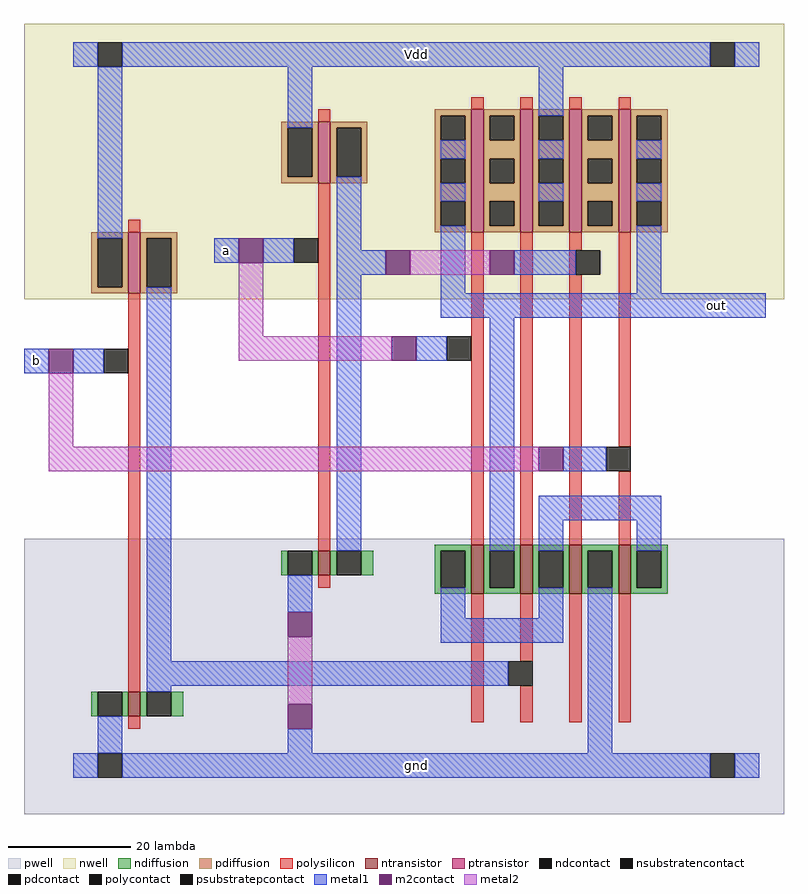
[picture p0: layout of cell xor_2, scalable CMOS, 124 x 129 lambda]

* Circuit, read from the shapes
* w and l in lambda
.subckt xor_2 Vdd a b gnd out
M1 n1 b gnd gnd nfet w=4 l=2
M2 n2 a gnd gnd nfet w=4 l=2
M3 out a n3 gnd nfet w=8 l=2
M4 n3 n1 out gnd nfet w=8 l=2
M5 gnd n2 n3 gnd nfet w=8 l=2
M6 n3 b gnd gnd nfet w=8 l=2
M7 n1 b Vdd Vdd pfet w=10 l=2
M8 n2 a Vdd Vdd pfet w=10 l=2
M9 n4 a out Vdd pfet w=20 l=2
M10 Vdd n1 n4 Vdd pfet w=20 l=2
M11 n5 n2 Vdd Vdd pfet w=20 l=2
M12 out b n5 Vdd pfet w=20 l=2
.ends

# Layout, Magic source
magic
tech scmos
<< pwell >>
rect -75 -64 49 -19
<< nwell >>
rect -75 20 49 65
<< polysilicon >>
rect -2 51 0 53
rect 6 51 8 53
rect 14 51 16 53
rect 22 51 24 53
rect -27 49 -25 51
rect -58 31 -56 33
rect -58 -44 -56 21
rect -27 -21 -25 39
rect -2 -20 0 31
rect 6 -20 8 31
rect 14 28 16 31
rect 14 24 15 28
rect 14 -20 16 24
rect 22 -4 24 31
rect 22 -20 24 -8
rect -27 -27 -25 -25
rect -58 -50 -56 -48
rect -2 -49 0 -28
rect 6 -39 8 -28
rect 6 -49 8 -43
rect 14 -49 16 -28
rect 22 -49 24 -28
<< ndiffusion >>
rect -8 -21 -2 -20
rect -33 -25 -32 -21
rect -28 -25 -27 -21
rect -25 -25 -24 -21
rect -20 -25 -18 -21
rect -8 -27 -7 -21
rect -3 -27 -2 -21
rect -8 -28 -2 -27
rect 0 -21 6 -20
rect 0 -27 1 -21
rect 5 -27 6 -21
rect 0 -28 6 -27
rect 8 -21 14 -20
rect 8 -27 9 -21
rect 13 -27 14 -21
rect 8 -28 14 -27
rect 16 -21 22 -20
rect 16 -27 17 -21
rect 21 -27 22 -21
rect 16 -28 22 -27
rect 24 -21 30 -20
rect 24 -27 25 -21
rect 29 -27 30 -21
rect 24 -28 30 -27
rect -64 -48 -63 -44
rect -59 -48 -58 -44
rect -56 -48 -55 -44
rect -51 -48 -49 -44
<< pdiffusion >>
rect -8 50 -2 51
rect -33 48 -27 49
rect -33 40 -32 48
rect -28 40 -27 48
rect -33 39 -27 40
rect -25 48 -19 49
rect -25 40 -24 48
rect -20 40 -19 48
rect -25 39 -19 40
rect -8 46 -7 50
rect -3 46 -2 50
rect -8 43 -2 46
rect -8 39 -7 43
rect -3 39 -2 43
rect -64 30 -58 31
rect -64 22 -63 30
rect -59 22 -58 30
rect -64 21 -58 22
rect -56 30 -50 31
rect -56 22 -55 30
rect -51 22 -50 30
rect -56 21 -50 22
rect -8 36 -2 39
rect -8 32 -7 36
rect -3 32 -2 36
rect -8 31 -2 32
rect 0 50 6 51
rect 0 46 1 50
rect 5 46 6 50
rect 0 43 6 46
rect 0 39 1 43
rect 5 39 6 43
rect 0 36 6 39
rect 0 32 1 36
rect 5 32 6 36
rect 0 31 6 32
rect 8 50 14 51
rect 8 46 9 50
rect 13 46 14 50
rect 8 43 14 46
rect 8 39 9 43
rect 13 39 14 43
rect 8 36 14 39
rect 8 32 9 36
rect 13 32 14 36
rect 8 31 14 32
rect 16 50 22 51
rect 16 46 17 50
rect 21 46 22 50
rect 16 43 22 46
rect 16 39 17 43
rect 21 39 22 43
rect 16 36 22 39
rect 16 32 17 36
rect 21 32 22 36
rect 16 31 22 32
rect 24 50 30 51
rect 24 46 25 50
rect 29 46 30 50
rect 24 43 30 46
rect 24 39 25 43
rect 29 39 30 43
rect 24 36 30 39
rect 24 32 25 36
rect 29 32 30 36
rect 24 31 30 32
<< metal1 >>
rect -67 58 -63 62
rect -59 58 37 62
rect 41 58 45 62
rect -63 30 -59 58
rect -32 48 -28 58
rect 9 50 13 58
rect -44 26 -40 30
rect -36 26 -31 30
rect -24 28 -20 40
rect -7 43 -3 46
rect 9 43 13 46
rect 25 43 29 46
rect -7 36 -3 39
rect 9 36 13 39
rect 25 36 29 39
rect -75 8 -71 12
rect -67 8 -62 12
rect -55 -39 -51 22
rect -24 24 -16 28
rect -24 -21 -20 24
rect -7 21 -3 32
rect 5 24 15 28
rect 25 21 29 32
rect -7 17 46 21
rect -11 10 -6 14
rect 1 -21 5 17
rect 13 -8 20 -4
rect -32 -31 -28 -25
rect 9 -16 29 -12
rect 9 -21 13 -16
rect 25 -21 29 -16
rect -7 -32 -3 -27
rect 9 -32 13 -27
rect -7 -36 13 -32
rect -55 -43 4 -39
rect -55 -44 -51 -43
rect -63 -54 -59 -48
rect -32 -54 -28 -50
rect 17 -54 21 -27
rect -67 -58 -63 -54
rect -59 -58 37 -54
rect 41 -58 45 -54
<< metal2 >>
rect -40 14 -36 26
rect -12 24 1 28
rect -40 10 -15 14
rect -71 -4 -67 8
rect -71 -8 9 -4
rect -32 -46 -28 -35
<< ntransistor >>
rect -27 -25 -25 -21
rect -2 -28 0 -20
rect 6 -28 8 -20
rect 14 -28 16 -20
rect 22 -28 24 -20
rect -58 -48 -56 -44
<< ptransistor >>
rect -27 39 -25 49
rect -58 21 -56 31
rect -2 31 0 51
rect 6 31 8 51
rect 14 31 16 51
rect 22 31 24 51
<< polycontact >>
rect -31 26 -27 30
rect -62 8 -58 12
rect -6 10 -2 14
rect 15 24 19 28
rect 20 -8 24 -4
rect 4 -43 8 -39
<< ndcontact >>
rect -32 -25 -28 -21
rect -24 -25 -20 -21
rect -7 -27 -3 -21
rect 1 -27 5 -21
rect 9 -27 13 -21
rect 17 -27 21 -21
rect 25 -27 29 -21
rect -63 -48 -59 -44
rect -55 -48 -51 -44
<< pdcontact >>
rect -32 40 -28 48
rect -24 40 -20 48
rect -7 46 -3 50
rect -7 39 -3 43
rect -63 22 -59 30
rect -55 22 -51 30
rect -7 32 -3 36
rect 1 46 5 50
rect 1 39 5 43
rect 1 32 5 36
rect 9 46 13 50
rect 9 39 13 43
rect 9 32 13 36
rect 17 46 21 50
rect 17 39 21 43
rect 17 32 21 36
rect 25 46 29 50
rect 25 39 29 43
rect 25 32 29 36
<< m2contact >>
rect -40 26 -36 30
rect -71 8 -67 12
rect -16 24 -12 28
rect 1 24 5 28
rect -15 10 -11 14
rect 9 -8 13 -4
rect -32 -35 -28 -31
rect -32 -50 -28 -46
<< psubstratepcontact >>
rect -63 -58 -59 -54
rect 37 -58 41 -54
<< nsubstratencontact >>
rect -63 58 -59 62
rect 37 58 41 62
<< labels >>
rlabel metal1 30 17 46 21 0 out
rlabel metal1 -44 26 -40 30 0 a
rlabel metal1 -75 8 -71 12 0 b
rlabel metal1 -67 -58 45 -54 0 gnd
rlabel nwell -67 58 45 62 0 Vdd
<< end >>
